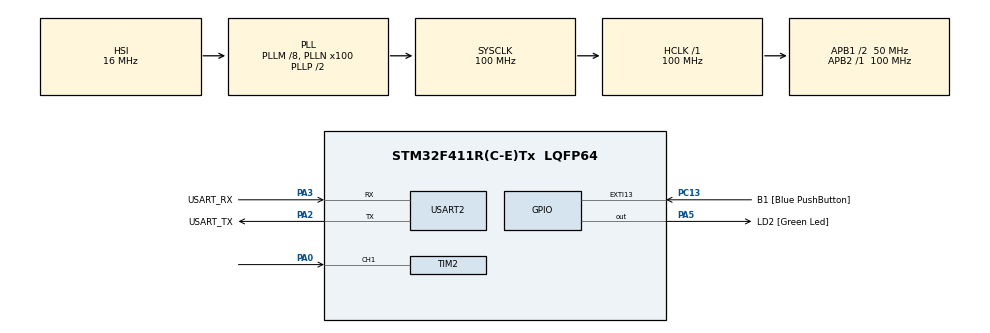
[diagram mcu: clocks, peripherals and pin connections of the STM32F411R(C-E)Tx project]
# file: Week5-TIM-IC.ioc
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Dma.Request0=TIM2_CH1
Dma.TIM2_CH1.0.Direction=DMA_PERIPH_TO_MEMORY
Dma.TIM2_CH1.0.FIFOMode=DMA_FIFOMODE_DISABLE
Dma.TIM2_CH1.0.Instance=DMA1_Stream5
Dma.TIM2_CH1.0.MemDataAlignment=DMA_MDATAALIGN_WORD
Dma.TIM2_CH1.0.MemInc=DMA_MINC_ENABLE
Dma.TIM2_CH1.0.Mode=DMA_CIRCULAR
Dma.TIM2_CH1.0.PeriphDataAlignment=DMA_PDATAALIGN_WORD
Dma.TIM2_CH1.0.PeriphInc=DMA_PINC_DISABLE
Dma.TIM2_CH1.0.Priority=DMA_PRIORITY_LOW
Mcu.Family=STM32F4
Mcu.Name=STM32F411R(C-E)Tx
Mcu.Package=LQFP64
NVIC.DMA1_Stream5_IRQn=true\:0\:0\:false\:false\:true\:false\:true
NVIC.PriorityGroup=NVIC_PRIORITYGROUP_0
NVIC.TIM2_IRQn=true\:0\:0\:false\:false\:true\:true\:true
NVIC.TIM5_IRQn=true\:0\:0\:false\:false\:true\:true\:true
PA0-WKUP.Signal=S_TIM2_CH1_ETR
PA13.GPIO_Label=TMS
PA13.Mode=Serial_Wire
PA13.Signal=SYS_JTMS-SWDIO
PA14.GPIO_Label=TCK
PA14.Mode=Serial_Wire
PA14.Signal=SYS_JTCK-SWCLK
PA2.GPIO_Label=USART_TX
PA2.Mode=Asynchronous
PA2.Signal=USART2_TX
PA3.GPIO_Label=USART_RX
PA3.Mode=Asynchronous
PA3.Signal=USART2_RX
PA5.GPIO_Label=LD2 [Green Led]
PA5.Signal=GPIO_Output
PB3.GPIO_Label=SWO
PB3.Signal=SYS_JTDO-SWO
PC13-ANTI_TAMP.GPIO_Label=B1 [Blue PushButton]
PC13-ANTI_TAMP.GPIO_ModeDefaultEXTI=GPIO_MODE_IT_FALLING
PC13-ANTI_TAMP.Signal=GPXTI13
PC14-OSC32_IN.Mode=LSE-External-Oscillator
PC14-OSC32_IN.Signal=RCC_OSC32_IN
PC15-OSC32_OUT.Mode=LSE-External-Oscillator
PC15-OSC32_OUT.Signal=RCC_OSC32_OUT
PH0\ -\ OSC_IN.Mode=HSE-External-Clock-Source
PH0\ -\ OSC_IN.Signal=RCC_OSC_IN
PH1\ -\ OSC_OUT.Mode=HSE-External-Clock-Source
PH1\ -\ OSC_OUT.Signal=RCC_OSC_OUT
ProjectManager.HeapSize=0x200
ProjectManager.StackSize=0x400
ProjectManager.TargetToolchain=STM32CubeIDE
RCC.48MHZClocksFreq_Value=50000000
RCC.AHBFreq_Value=100000000
RCC.APB1CLKDivider=RCC_HCLK_DIV2
RCC.APB1Freq_Value=50000000
RCC.APB1TimFreq_Value=100000000
RCC.APB2Freq_Value=100000000
RCC.APB2TimFreq_Value=100000000
RCC.CortexFreq_Value=100000000
RCC.FLatency-AdvancedSettings=FLASH_LATENCY_3
RCC.HCLKFreq_Value=100000000
RCC.HSE_VALUE=8000000
RCC.HSI_VALUE=16000000
RCC.PLLM=8
RCC.PLLN=100
RCC.RCC_RTC_Clock_Source=RCC_RTCCLKSOURCE_LSI
RCC.RCC_RTC_Clock_SourceVirtual=RCC_RTCCLKSOURCE_LSI
RCC.SYSCLKFreq_VALUE=100000000
RCC.SYSCLKSource=RCC_SYSCLKSOURCE_PLLCLK
RCC.VCOOutputFreq_Value=200000000
SH.S_TIM2_CH1_ETR.0=TIM2_CH1,Input_Capture1_from_TI1
TIM2.Channel-Input_Capture1_from_TI1=TIM_CHANNEL_1
TIM2.ICFilter_CH1=2
TIM2.Prescaler=99
TIM5.Prescaler=99
USART2.VirtualMode=VM_ASYNC
VP_TIM2_VS_ClockSourceINT.Mode=Internal
VP_TIM5_VS_ClockSourceINT.Mode=Internal
board=NUCLEO-F411RE

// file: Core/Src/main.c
/* USER CODE BEGIN Header */
/**
 ******************************************************************************
 * @file           : main.c
 * @brief          : Main program body
 ******************************************************************************
 * @attention
 *
 * <h2><center>&copy; Copyright (c) 2021 STMicroelectronics.
 * All rights reserved.</center></h2>
 *
 * This software component is licensed by ST under BSD 3-Clause license,
 * the "License"; You may not use this file except in compliance with the
 * License. You may obtain a copy of the License at:
 *                        opensource.org/licenses/BSD-3-Clause
 *
 ******************************************************************************
 */
/* USER CODE END Header */
#include "main.h"

/* USER CODE BEGIN PD */
#define CAPTURENUM 16

/* USER CODE END PD */

TIM_HandleTypeDef htim2;
TIM_HandleTypeDef htim5;
DMA_HandleTypeDef hdma_tim2_ch1;

UART_HandleTypeDef huart2;

/* USER CODE BEGIN PV */

//12 P/R , Gear reduction 1 : 64
//DMA Buffer
uint32_t capturedata[CAPTURENUM] = { 0 };
//diff time of capture data
int32_t DiffTime[CAPTURENUM-1] = { 0 };
//Mean difftime
float MeanTime =0;

//for microsecond measurement
uint64_t _micros =0;
/* USER CODE END PV */

void SystemClock_Config(void);
static void MX_GPIO_Init(void);
static void MX_DMA_Init(void);
static void MX_USART2_UART_Init(void);
static void MX_TIM2_Init(void);
static void MX_TIM5_Init(void);
/* USER CODE BEGIN PFP */
//Read speed of encoder
void encoderSpeedReaderCycle();
void MeasureSpeed();
uint64_t micros();
int RPM = 0;
float T = 0;
float f = 0;
/* USER CODE END PFP */

int main(void)
{

  /* MCU Configuration--------------------------------------------------------*/

  /* Reset of all peripherals, Initializes the Flash interface and the Systick. */
  HAL_Init();

  /* Configure the system clock */
  SystemClock_Config();

  /* Initialize all configured peripherals */
  MX_GPIO_Init();
  MX_DMA_Init();
  MX_USART2_UART_Init();
  MX_TIM2_Init();
  MX_TIM5_Init();
  /* USER CODE BEGIN 2 */
  	  //start Microsec timer
	HAL_TIM_Base_Start_IT(&htim5);
	//start Input capture in DMA
	HAL_TIM_Base_Start(&htim2);
	HAL_TIM_IC_Start_DMA(&htim2, TIM_CHANNEL_1, (uint32_t*) &capturedata,
			CAPTURENUM);
	uint64_t timestamp =0;
  /* USER CODE END 2 */

  /* Infinite loop */
  /* USER CODE BEGIN WHILE */
	while (1) {
		//read Time of encoder
		encoderSpeedReaderCycle();

		if(micros()-timestamp > 100000)
		{
			timestamp = micros();
			HAL_GPIO_TogglePin(LD2_GPIO_Port,LD2_Pin);
		}

		MeasureSpeed();

    /* USER CODE END WHILE */

	}
}

void SystemClock_Config(void)
{
  RCC_OscInitTypeDef RCC_OscInitStruct = {0};
  RCC_ClkInitTypeDef RCC_ClkInitStruct = {0};

  /** Configure the main internal regulator output voltage
  */
  __HAL_RCC_PWR_CLK_ENABLE();
  __HAL_PWR_VOLTAGESCALING_CONFIG(PWR_REGULATOR_VOLTAGE_SCALE1);
  /** Initializes the RCC Oscillators according to the specified parameters
  * in the RCC_OscInitTypeDef structure.
  */
  RCC_OscInitStruct.OscillatorType = RCC_OSCILLATORTYPE_HSI;
  RCC_OscInitStruct.HSIState = RCC_HSI_ON;
  RCC_OscInitStruct.HSICalibrationValue = RCC_HSICALIBRATION_DEFAULT;
  RCC_OscInitStruct.PLL.PLLState = RCC_PLL_ON;
  RCC_OscInitStruct.PLL.PLLSource = RCC_PLLSOURCE_HSI;
  RCC_OscInitStruct.PLL.PLLM = 8;
  RCC_OscInitStruct.PLL.PLLN = 100;
  RCC_OscInitStruct.PLL.PLLP = RCC_PLLP_DIV2;
  RCC_OscInitStruct.PLL.PLLQ = 4;
  if (HAL_RCC_OscConfig(&RCC_OscInitStruct) != HAL_OK)
  {
    Error_Handler();
  }
  /** Initializes the CPU, AHB and APB buses clocks
  */
  RCC_ClkInitStruct.ClockType = RCC_CLOCKTYPE_HCLK|RCC_CLOCKTYPE_SYSCLK
                              |RCC_CLOCKTYPE_PCLK1|RCC_CLOCKTYPE_PCLK2;
  RCC_ClkInitStruct.SYSCLKSource = RCC_SYSCLKSOURCE_PLLCLK;
  RCC_ClkInitStruct.AHBCLKDivider = RCC_SYSCLK_DIV1;
  RCC_ClkInitStruct.APB1CLKDivider = RCC_HCLK_DIV2;
  RCC_ClkInitStruct.APB2CLKDivider = RCC_HCLK_DIV1;

  if (HAL_RCC_ClockConfig(&RCC_ClkInitStruct, FLASH_LATENCY_3) != HAL_OK)
  {
    Error_Handler();
  }
}

static void MX_TIM2_Init(void)
{

  TIM_ClockConfigTypeDef sClockSourceConfig = {0};
  TIM_MasterConfigTypeDef sMasterConfig = {0};
  TIM_IC_InitTypeDef sConfigIC = {0};

  htim2.Instance = TIM2;
  htim2.Init.Prescaler = 99;
  htim2.Init.CounterMode = TIM_COUNTERMODE_UP;
  htim2.Init.Period = 4294967295;
  htim2.Init.ClockDivision = TIM_CLOCKDIVISION_DIV1;
  htim2.Init.AutoReloadPreload = TIM_AUTORELOAD_PRELOAD_DISABLE;
  if (HAL_TIM_Base_Init(&htim2) != HAL_OK)
  {
    Error_Handler();
  }
  sClockSourceConfig.ClockSource = TIM_CLOCKSOURCE_INTERNAL;
  if (HAL_TIM_ConfigClockSource(&htim2, &sClockSourceConfig) != HAL_OK)
  {
    Error_Handler();
  }
  if (HAL_TIM_IC_Init(&htim2) != HAL_OK)
  {
    Error_Handler();
  }
  sMasterConfig.MasterOutputTrigger = TIM_TRGO_RESET;
  sMasterConfig.MasterSlaveMode = TIM_MASTERSLAVEMODE_DISABLE;
  if (HAL_TIMEx_MasterConfigSynchronization(&htim2, &sMasterConfig) != HAL_OK)
  {
    Error_Handler();
  }
  sConfigIC.ICPolarity = TIM_INPUTCHANNELPOLARITY_RISING;
  sConfigIC.ICSelection = TIM_ICSELECTION_DIRECTTI;
  sConfigIC.ICPrescaler = TIM_ICPSC_DIV1;
  sConfigIC.ICFilter = 2;
  if (HAL_TIM_IC_ConfigChannel(&htim2, &sConfigIC, TIM_CHANNEL_1) != HAL_OK)
  {
    Error_Handler();
  }

}

static void MX_TIM5_Init(void)
{

  TIM_ClockConfigTypeDef sClockSourceConfig = {0};
  TIM_MasterConfigTypeDef sMasterConfig = {0};

  htim5.Instance = TIM5;
  htim5.Init.Prescaler = 99;
  htim5.Init.CounterMode = TIM_COUNTERMODE_UP;
  htim5.Init.Period = 4294967295;
  htim5.Init.ClockDivision = TIM_CLOCKDIVISION_DIV1;
  htim5.Init.AutoReloadPreload = TIM_AUTORELOAD_PRELOAD_DISABLE;
  if (HAL_TIM_Base_Init(&htim5) != HAL_OK)
  {
    Error_Handler();
  }
  sClockSourceConfig.ClockSource = TIM_CLOCKSOURCE_INTERNAL;
  if (HAL_TIM_ConfigClockSource(&htim5, &sClockSourceConfig) != HAL_OK)
  {
    Error_Handler();
  }
  sMasterConfig.MasterOutputTrigger = TIM_TRGO_RESET;
  sMasterConfig.MasterSlaveMode = TIM_MASTERSLAVEMODE_DISABLE;
  if (HAL_TIMEx_MasterConfigSynchronization(&htim5, &sMasterConfig) != HAL_OK)
  {
    Error_Handler();
  }

}

static void MX_USART2_UART_Init(void)
{

  huart2.Instance = USART2;
  huart2.Init.BaudRate = 115200;
  huart2.Init.WordLength = UART_WORDLENGTH_8B;
  huart2.Init.StopBits = UART_STOPBITS_1;
  huart2.Init.Parity = UART_PARITY_NONE;
  huart2.Init.Mode = UART_MODE_TX_RX;
  huart2.Init.HwFlowCtl = UART_HWCONTROL_NONE;
  huart2.Init.OverSampling = UART_OVERSAMPLING_16;
  if (HAL_UART_Init(&huart2) != HAL_OK)
  {
    Error_Handler();
  }

}

static void MX_DMA_Init(void)
{

  /* DMA controller clock enable */
  __HAL_RCC_DMA1_CLK_ENABLE();

  /* DMA interrupt init */
  /* DMA1_Stream5_IRQn interrupt configuration */
  HAL_NVIC_SetPriority(DMA1_Stream5_IRQn, 0, 0);
  HAL_NVIC_EnableIRQ(DMA1_Stream5_IRQn);

}

static void MX_GPIO_Init(void)
{
  GPIO_InitTypeDef GPIO_InitStruct = {0};

  /* GPIO Ports Clock Enable */
  __HAL_RCC_GPIOC_CLK_ENABLE();
  __HAL_RCC_GPIOH_CLK_ENABLE();
  __HAL_RCC_GPIOA_CLK_ENABLE();
  __HAL_RCC_GPIOB_CLK_ENABLE();

  /*Configure GPIO pin Output Level */
  HAL_GPIO_WritePin(LD2_GPIO_Port, LD2_Pin, GPIO_PIN_RESET);

  /*Configure GPIO pin : B1_Pin */
  GPIO_InitStruct.Pin = B1_Pin;
  GPIO_InitStruct.Mode = GPIO_MODE_IT_FALLING;
  GPIO_InitStruct.Pull = GPIO_NOPULL;
  HAL_GPIO_Init(B1_GPIO_Port, &GPIO_InitStruct);

  /*Configure GPIO pin : LD2_Pin */
  GPIO_InitStruct.Pin = LD2_Pin;
  GPIO_InitStruct.Mode = GPIO_MODE_OUTPUT_PP;
  GPIO_InitStruct.Pull = GPIO_NOPULL;
  GPIO_InitStruct.Speed = GPIO_SPEED_FREQ_LOW;
  HAL_GPIO_Init(LD2_GPIO_Port, &GPIO_InitStruct);

}

/* USER CODE BEGIN 4 */
void encoderSpeedReaderCycle() {
	//get DMA Position form number of data
	uint32_t CapPos =CAPTURENUM -  __HAL_DMA_GET_COUNTER(htim2.hdma[TIM_DMA_ID_CC1]);
	uint32_t sum = 0 ;

	//calculate diff from all buffer
	for(register int i=0 ;i < CAPTURENUM-1;i++)
	{
		DiffTime[i]  = capturedata[(CapPos+1+i)%CAPTURENUM]-capturedata[(CapPos+i)%CAPTURENUM];
		//time never go back, but timer can over flow , conpensate that
		if (DiffTime[i] <0)
		{
			DiffTime[i]+=4294967295;
		}
		//Sum all 15 Diff
		sum += DiffTime[i];
	}

	//mean all 15 Diff
	MeanTime =sum / (float)(CAPTURENUM-1);
}
uint64_t micros()
{
	return _micros + htim5.Instance->CNT;  //counter of Timer11
}
void HAL_TIM_PeriodElapsedCallback(TIM_HandleTypeDef *htim)
{
 if(htim == &htim5)
 {
	 _micros += 4294967295;
 }
}
void MeasureSpeed()
{
	T = MeanTime * (0.000001);   //Sec
	f = (0.001)/T;  //kHz
	RPM = (f * 60 * 1000)/(12*64);
}
/* USER CODE END 4 */

void Error_Handler(void)
{
	__disable_irq();
	while (1) {
	}
}

/************************ (C) COPYRIGHT STMicroelectronics *****END OF FILE****/
